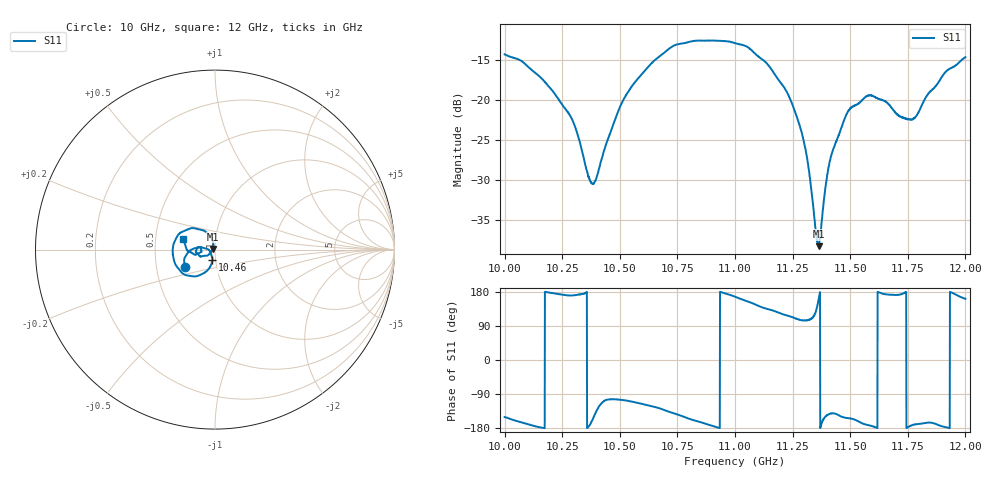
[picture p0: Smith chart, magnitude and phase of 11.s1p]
[Version] 2.0
! Rohde & Schwarz Vector Network Analyzer
! Rohde-Schwarz,ZNL20-2Port,1323001220200009,1.71.1.10-23.02.1.238
! Port Assignments:
! Nominal Port -> Actual Test Port
!  1 -> 1
! Created: GMT 2024-08-27 12:51:59
# Hz S DB R 50
[Number of Ports] 1
! freq[Hz]  S11[mag dB]  S11[ang]
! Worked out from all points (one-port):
!   2001 points, 10 GHz to 12 GHz, reference 50 ohm
!   lowest |S11| = -38.2 dB at 11.36 GHz (marker M1), VSWR 1.02, Z = 48.9 + j0.411 ohm
!   |S11| at or under -10 dB: start of sweep to end of sweep
!   S11 on the Smith chart (normalised r, x): 10 GHz: 0.70, -0.14; 10.46 GHz: 0.96, -0.11; 12 GHz: 0.70, +0.09
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[Number of Frequencies] 28
[Network Data]
1e10  -14.25 -150.6
1.0146e10  -16.87 -176.7
1.025e10  -20.54 172.4
1.0302e10  -23.01 170.9
1.0379e10  -30.40 -160.6
1.0397e10  -29.83 -136.7
1.0455e10  -24.31 -104.1
1.05e10  -20.87 -104.8
1.0626e10  -15.73 -120.4
1.075e10  -13.00 -143.8
1.0881e10  -12.54 -170.0
1.1e10  -12.85 166.9
1.1138e10  -15.37 135.2
1.125e10  -20.58 112.7
1.1307e10  -26.24 104.3
1.1325e10  -29.63 106.7
1.1353e10  -36.75 132.4
1.1363e10  -38.23 160.0
1.1372e10  -36.36 -175.0
1.1397e10  -30.05 -147.0
1.1414e10  -27.32 -141.7
1.15e10  -21.00 -154.1
1.1592e10  -19.38 -174.0
1.175e10  -22.40 -177.6
1.1785e10  -22.03 -169.6
1.1861e10  -18.55 -166.6
1.1917e10  -16.37 -177.5
1.2e10  -14.61 161.5
[End]
